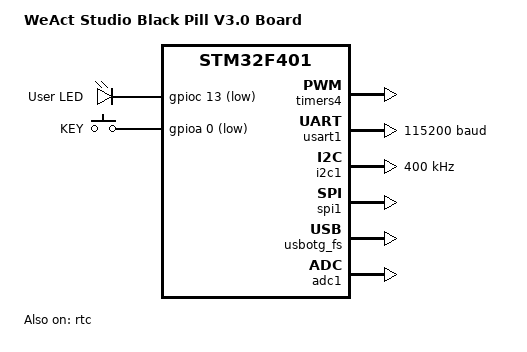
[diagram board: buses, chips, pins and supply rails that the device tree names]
/*
 * Copyright (c) 2020 Kalyan Sriram <coder.kalyan@gmail.com>
 *
 * SPDX-License-Identifier: Apache-2.0
 */

/dts-v1/;
#include <st/f4/stm32f401Xe.dtsi>

/ {
	model = "WeAct Studio Black Pill V3.0 Board";
	compatible = "weact,blackpill", "st,stm32f401";

	chosen {
		zephyr,console = &usart1;
		zephyr,shell-uart = &usart1;
		zephyr,sram = &sram0;
		zephyr,flash = &flash0;
		zephyr,code-partition = &slot0_partition;
	};

	leds {
		compatible = "gpio-leds";
		user_led: led {
			gpios = <&gpioc 13 GPIO_ACTIVE_LOW>;
			label = "User LED";
		};
	};

	gpio_keys {
		compatible = "gpio-keys";
		user_button: button {
			label = "KEY";
			gpios = <&gpioa 0 (GPIO_ACTIVE_LOW | GPIO_PULL_UP)>;
		};
	};

	aliases {
		led0 = &user_led;
		sw0 = &user_button;
	};
};

&flash0 {

	partitions {
		compatible = "fixed-partitions";
		#address-cells = <1>;
		#size-cells = <1>;

		boot_partition: partition@0 {
			label = "mcuboot";
			reg = <0x00000000 0x00008000>;
			read-only;
		};

		slot0_partition: partition@8000 {
			label = "image-0";
			reg = <0x0008000 0x00058000>;
		};

		scratch_partition: partition@60000 {
			label = "image-scratch";
			reg = <0x00060000 0x00020000>;
		};
	};
};

&timers4 {
	status = "okay";

	pwm4: pwm {
		status = "okay";
	};
};

&usart1 {
	status = "okay";
	current-speed = <115200>;
};

&i2c1 {
	status = "okay";
	clock-frequency = <I2C_BITRATE_FAST>;
};

&spi1 {
	status = "okay";
};

&rtc {
	status = "okay";
};

&usbotg_fs {
	status = "okay";
};

&adc1 {
	status = "okay";
};
